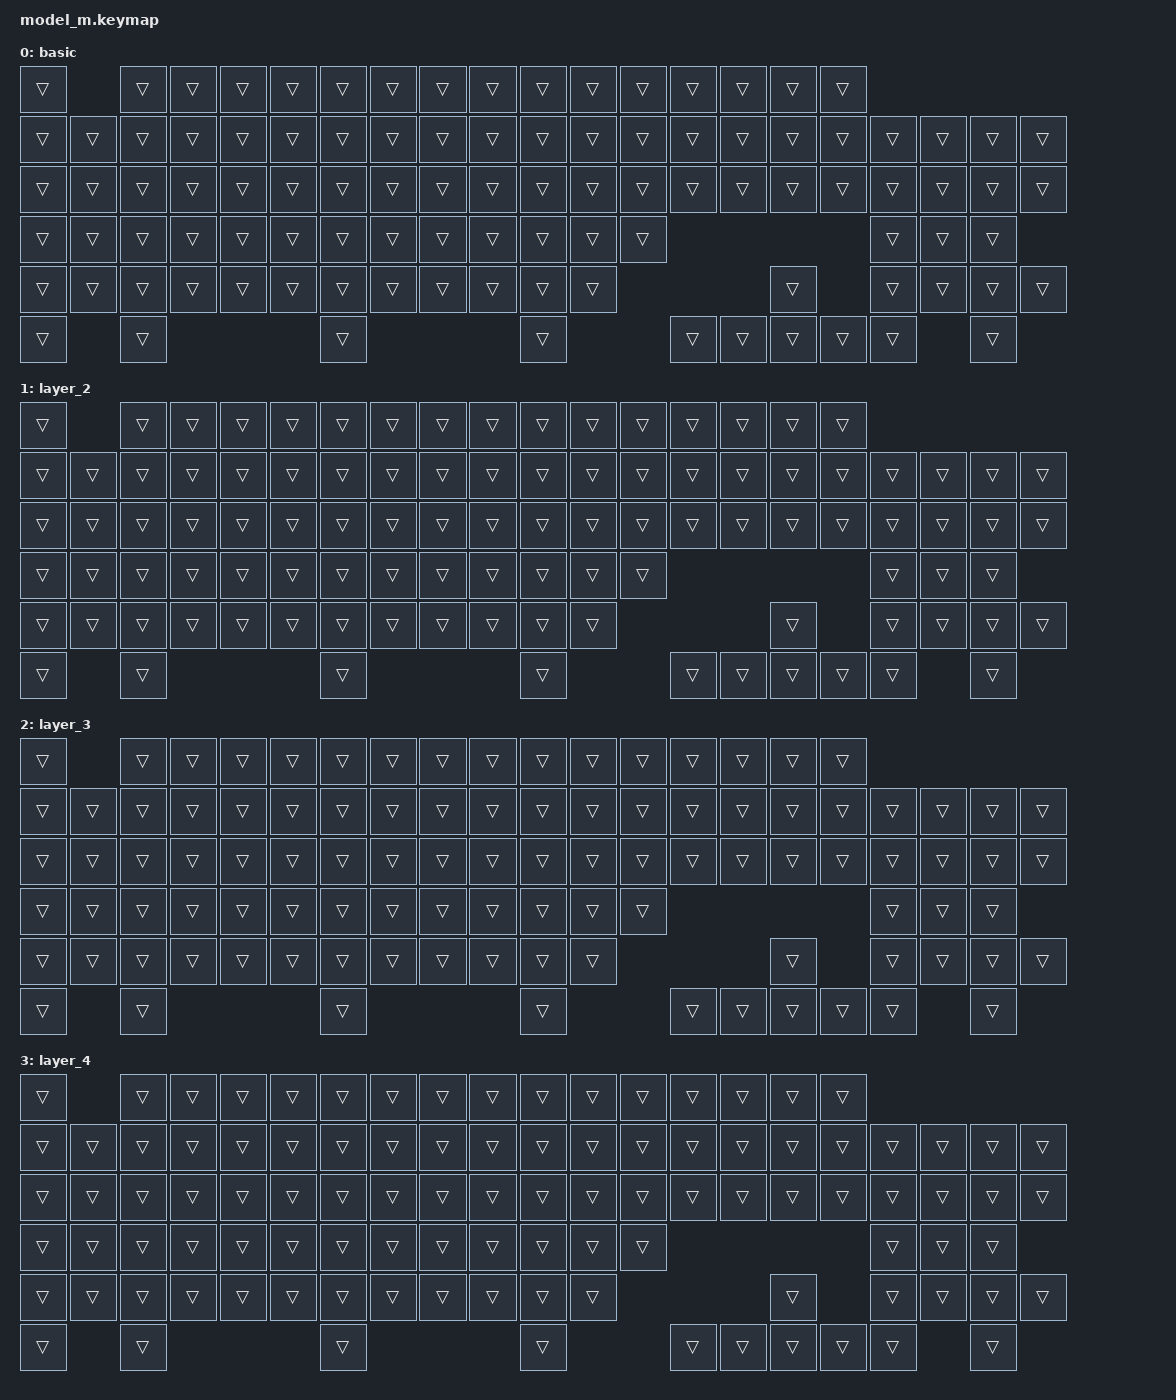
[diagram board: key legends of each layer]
/*
 * Copyright (c) 2020 The ZMK Contributors
 *
 * SPDX-License-Identifier: MIT
 */

#include <behaviors.dtsi>
#include <dt-bindings/zmk/bt.h>
#include <dt-bindings/zmk/keys.h>

&mt {
    tapping-term-ms = <200>;
    flavor = "tap-preferred";
};

&sk {
    release-after-ms = <2000>;
    quick-release;
};

/ {
    combos {
        compatible = "zmk,combos";

        ENT {
            bindings = <&kp ENTER>;
            key-positions = <17 16>;
            timeout-ms = <50>;
        };

        BACKSP {
            bindings = <&kp BACKSPACE>;
            key-positions = <6 7>;
        };

        DELT {
            bindings = <&kp DELETE>;
            key-positions = <7 8>;
        };

        CTL {
            bindings = <&kp LCTRL>;
            key-positions = <19 18>;
        };

        AL {
            bindings = <&kp LEFT_ALT>;
            key-positions = <18 17>;
        };
    };

    behaviors {
        hm: homerow_mods {
            compatible = "zmk,behavior-hold-tap";
            label = "HOMEROW_MODS";
            #binding-cells = <2>;
            tapping-term-ms = <200>;
            quick_tap_ms = <0>;
            flavor = "tap-preferred";
            bindings = <&kp>, <&kp>;

            quick-tap-ms = <0>;
            global-quick-tap;
        };

        ltq: ltq {
            compatible = "zmk,behavior-hold-tap";
            label = "LTQ";
            #binding-cells = <2>;
            tapping-term-ms = <200>;
            quick_tap_ms = <0>;
            flavor = "tap-preferred";
            bindings = <&mo>, <&kp>;

            quick-tap-ms = <0>;
            global-quick-tap;
        };

        td0: tap_dance_tab_gui {
            compatible = "zmk,behavior-tap-dance";
            #binding-cells = <0>;
            tapping-term-ms = <200>;
            bindings = <&kp TAB>, <&kp LEFT_GUI>;

            label = "tab_gui";
        };

        td1: tap_dance_semi_quo {
            compatible = "zmk,behavior-tap-dance";
            label = "semi_quo";
            #binding-cells = <0>;
            bindings = <&as COLON SEMICOLON>, <&as DOUBLE_QUOTES SQT>;
        };

        td2: tap_dance_gui_mo2 {
            compatible = "zmk,behavior-tap-dance";
            label = "gui_mo2";
            #binding-cells = <0>;
            bindings = <&kp LWIN>, <&mo 2>;
        };

        as: auto_shift {
            compatible = "zmk,behavior-hold-tap";
            label = "AUTO_SHIFT";
            bindings = <&kp>, <&kp>;

            #binding-cells = <2>;
            tapping-term-ms = <150>;
            quick-tap-ms = <0>;
            flavor = "tap-preferred";
        };
    };

    keymap {
        compatible = "zmk,keymap";

        basic {
            bindings = <
                &trans          &trans  &trans  &trans  &trans  &trans  &trans  &trans  &trans  &trans  &trans  &trans  &trans      &trans  &trans  &trans  
                &trans  &trans  &trans  &trans  &trans  &trans  &trans  &trans  &trans  &trans  &trans  &trans  &trans  &trans      &trans  &trans  &trans      &trans  &trans  &trans  &trans
                &trans  &trans  &trans  &trans  &trans  &trans  &trans  &trans  &trans  &trans  &trans  &trans  &trans  &trans      &trans  &trans  &trans      &trans  &trans  &trans  &trans
                &trans  &trans  &trans  &trans  &trans  &trans  &trans  &trans  &trans  &trans  &trans  &trans  &trans                                          &trans  &trans  &trans  
                &trans  &trans  &trans  &trans  &trans  &trans  &trans  &trans  &trans  &trans  &trans  &trans                              &trans              &trans  &trans  &trans  &trans
                &trans          &trans                          &trans                          &trans                  &trans      &trans  &trans  &trans      &trans          &trans
            >;
        };

        layer_2 {
            bindings = <
                &trans          &trans  &trans  &trans  &trans  &trans  &trans  &trans  &trans  &trans  &trans  &trans  &trans      &trans  &trans  &trans  
                &trans  &trans  &trans  &trans  &trans  &trans  &trans  &trans  &trans  &trans  &trans  &trans  &trans  &trans      &trans  &trans  &trans      &trans  &trans  &trans  &trans
                &trans  &trans  &trans  &trans  &trans  &trans  &trans  &trans  &trans  &trans  &trans  &trans  &trans  &trans      &trans  &trans  &trans      &trans  &trans  &trans  &trans
                &trans  &trans  &trans  &trans  &trans  &trans  &trans  &trans  &trans  &trans  &trans  &trans  &trans                                          &trans  &trans  &trans  
                &trans  &trans  &trans  &trans  &trans  &trans  &trans  &trans  &trans  &trans  &trans  &trans                              &trans              &trans  &trans  &trans  &trans
                &trans          &trans                          &trans                          &trans                  &trans      &trans  &trans  &trans      &trans          &trans
            >;
        };

        layer_3 {
            bindings = <
                &trans          &trans  &trans  &trans  &trans  &trans  &trans  &trans  &trans  &trans  &trans  &trans  &trans      &trans  &trans  &trans  
                &trans  &trans  &trans  &trans  &trans  &trans  &trans  &trans  &trans  &trans  &trans  &trans  &trans  &trans      &trans  &trans  &trans      &trans  &trans  &trans  &trans
                &trans  &trans  &trans  &trans  &trans  &trans  &trans  &trans  &trans  &trans  &trans  &trans  &trans  &trans      &trans  &trans  &trans      &trans  &trans  &trans  &trans
                &trans  &trans  &trans  &trans  &trans  &trans  &trans  &trans  &trans  &trans  &trans  &trans  &trans                                          &trans  &trans  &trans  
                &trans  &trans  &trans  &trans  &trans  &trans  &trans  &trans  &trans  &trans  &trans  &trans                              &trans              &trans  &trans  &trans  &trans
                &trans          &trans                          &trans                          &trans                  &trans      &trans  &trans  &trans      &trans          &trans
            >;
        };

        layer_4 {
            bindings = <
                &trans          &trans  &trans  &trans  &trans  &trans  &trans  &trans  &trans  &trans  &trans  &trans  &trans      &trans  &trans  &trans  
                &trans  &trans  &trans  &trans  &trans  &trans  &trans  &trans  &trans  &trans  &trans  &trans  &trans  &trans      &trans  &trans  &trans      &trans  &trans  &trans  &trans
                &trans  &trans  &trans  &trans  &trans  &trans  &trans  &trans  &trans  &trans  &trans  &trans  &trans  &trans      &trans  &trans  &trans      &trans  &trans  &trans  &trans
                &trans  &trans  &trans  &trans  &trans  &trans  &trans  &trans  &trans  &trans  &trans  &trans  &trans                                          &trans  &trans  &trans  
                &trans  &trans  &trans  &trans  &trans  &trans  &trans  &trans  &trans  &trans  &trans  &trans                              &trans              &trans  &trans  &trans  &trans
                &trans          &trans                          &trans                          &trans                  &trans      &trans  &trans  &trans      &trans          &trans
            >;
        };
    };
};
